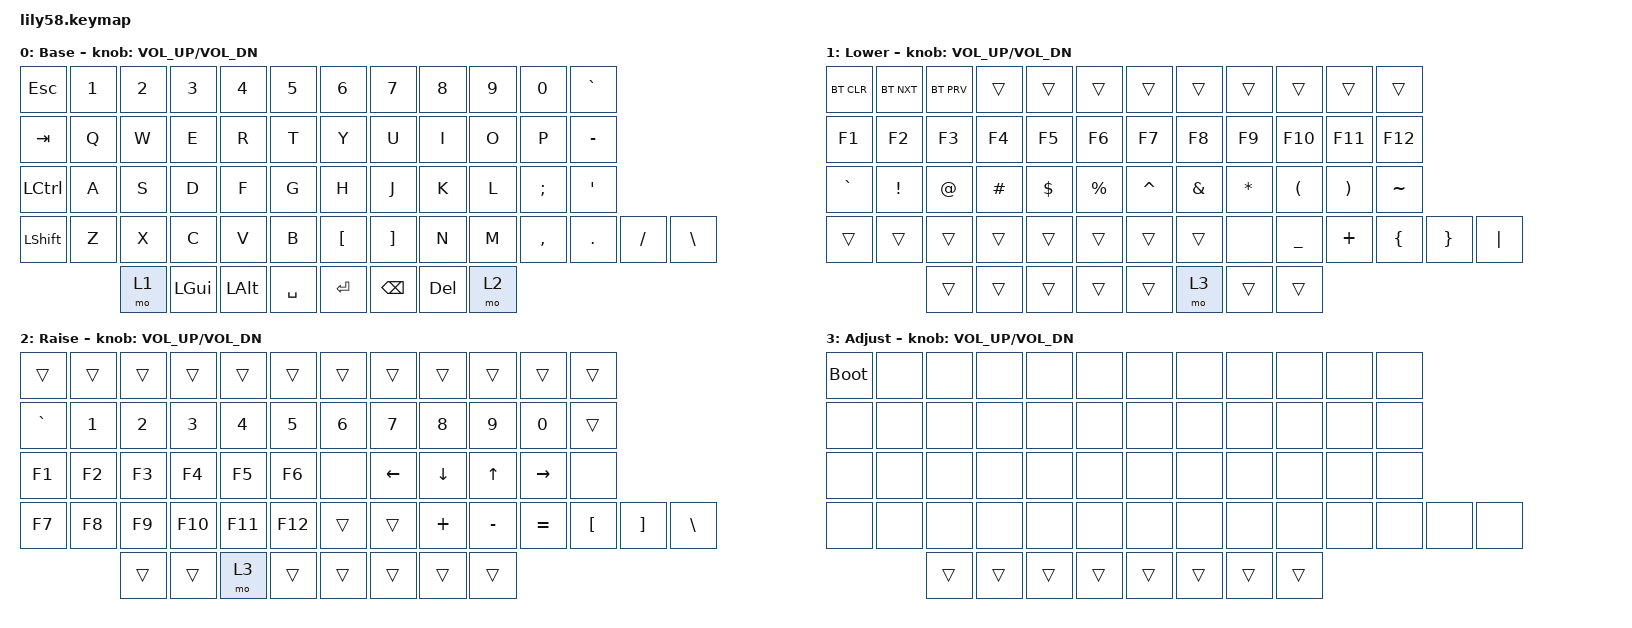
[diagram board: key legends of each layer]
/*
 * Copyright (c) 2026 The ZMK Contributors
 *
 * SPDX-License-Identifier: MIT
 */

#include <behaviors.dtsi>
#include <dt-bindings/zmk/bt.h>
#include <dt-bindings/zmk/ext_power.h>
#include <dt-bindings/zmk/keys.h>

/ {
    keymap {
        compatible = "zmk,keymap";

        default_layer {
            display-name = "Base";
            bindings = <
                &kp ESC   &kp N1    &kp N2    &kp N3    &kp N4    &kp N5    &kp N6    &kp N7    &kp N8    &kp N9    &kp N0    &kp GRAVE
                &kp TAB   &kp Q     &kp W     &kp E     &kp R     &kp T     &kp Y     &kp U     &kp I     &kp O     &kp P     &kp MINUS
                &kp LCTRL &kp A     &kp S     &kp D     &kp F     &kp G     &kp H     &kp J     &kp K     &kp L     &kp SEMI  &kp APOS
                &kp LSHFT &kp Z     &kp X     &kp C     &kp V     &kp B     &kp LBKT  &kp RBKT  &kp N     &kp M     &kp COMMA &kp DOT   &kp SLASH &kp BSLH
                                    &mo 1     &kp LGUI  &kp LALT  &kp SPACE &kp RET   &kp BSPC  &kp DEL   &mo 2
            >;
            sensor-bindings = <&inc_dec_kp C_VOL_UP C_VOL_DN>;
        };

        lower_layer {
            display-name = "Lower";
            bindings = <
                &bt BT_CLR    &bt BT_NXT    &bt BT_PRV    &trans    &trans    &trans    &trans    &trans    &trans    &trans    &trans    &trans
                &kp F1    &kp F2    &kp F3    &kp F4    &kp F5    &kp F6    &kp F7    &kp F8    &kp F9    &kp F10   &kp F11   &kp F12
                &kp GRAVE &kp EXCL  &kp AT    &kp HASH  &kp DOLLAR &kp PERCENT &kp CARET &kp AMPERSAND &kp ASTERISK &kp LPAR &kp RPAR &kp TILDE
                &trans    &trans    &trans    &trans    &trans    &trans    &trans    &trans    &none     &kp UNDER &kp PLUS  &kp LBRC  &kp RBRC  &kp PIPE
                                    &trans    &trans    &trans    &trans    &trans    &mo 3     &trans    &trans
            >;
            sensor-bindings = <&inc_dec_kp C_VOL_UP C_VOL_DN>;
        };

        raise_layer {
            display-name = "Raise";
            bindings = <
                &trans    &trans    &trans    &trans    &trans    &trans    &trans    &trans    &trans    &trans    &trans    &trans
                &kp GRAVE &kp N1    &kp N2    &kp N3    &kp N4    &kp N5    &kp N6    &kp N7    &kp N8    &kp N9    &kp N0    &trans
                &kp F1    &kp F2    &kp F3    &kp F4    &kp F5    &kp F6    &none     &kp LEFT  &kp DOWN  &kp UP    &kp RIGHT &none
                &kp F7    &kp F8    &kp F9    &kp F10   &kp F11   &kp F12   &trans    &trans    &kp PLUS  &kp MINUS &kp EQUAL &kp LBKT  &kp RBKT  &kp BSLH
                                    &trans    &trans    &mo 3     &trans    &trans    &trans    &trans    &trans
            >;
            sensor-bindings = <&inc_dec_kp C_VOL_UP C_VOL_DN>;
        };

        adjust_layer {
            display-name = "Adjust";
            // QMK RGB Matrix controls (RM_*) have no direct equivalent in this Lily58 Wireless View template.
            bindings = <
                &bootloader &none     &none     &none     &none     &none     &none     &none     &none     &none     &none     &none
                &none       &none     &none     &none     &none     &none     &none     &none     &none     &none     &none     &none
                &none       &none     &none     &none     &none     &none     &none     &none     &none     &none     &none     &none
                &none       &none     &none     &none     &none     &none     &none     &none     &none     &none     &none     &none     &none     &none
                                       &trans    &trans    &trans    &trans    &trans    &trans    &trans    &trans
            >;
            sensor-bindings = <&inc_dec_kp C_VOL_UP C_VOL_DN>;
        };
    };
};
